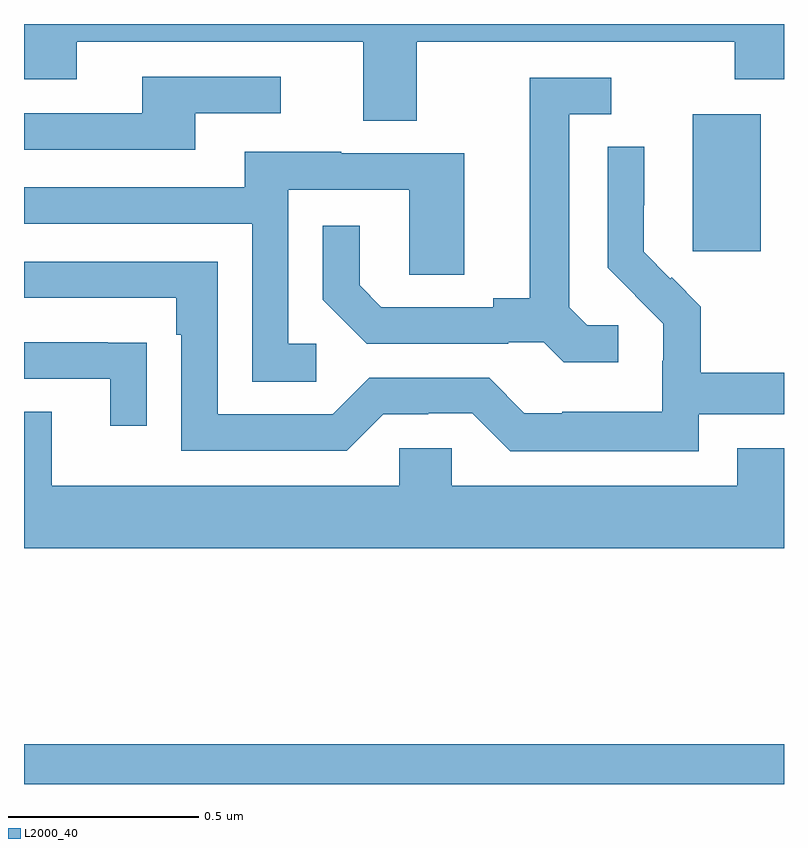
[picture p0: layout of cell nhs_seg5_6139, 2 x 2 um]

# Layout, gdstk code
import gdstk
lib = gdstk.Library(unit=1e-6, precision=1e-09)
def R(c, l, rs):  # rectangles x0, y0, x1, y1
    for r in rs: c.add(gdstk.rectangle(r[:2], r[2:], *l))
def P(c, l, *ps):  # polygons
    for p in ps: c.add(gdstk.Polygon(p, *l))
L2000_40 = (2000, 40)

nhs_seg5_6139 = lib.new_cell('nhs_seg5_6139')
R(nhs_seg5_6139, L2000_40, [(192,862.799,194,862.904), (193.76,864.201,193.939,864.562)])
P(nhs_seg5_6139, L2000_40, [(192,864.653),(192.139,864.653),(192.139,864.752),(192.893,864.752),(192.893,864.544),(193.033,864.544),(193.033,864.752),(193.87,864.752),(193.87,864.653),(194,864.653),(194,864.799),(192,864.799)],
  [(192.451,864.564),(192.676,864.564),(192.676,864.66),(192.311,864.66),(192.311,864.564),(192,864.564),(192,864.468),(192.451,864.468)],
  [(193.564,864.006),(193.482,864.006),(193.435,864.053),(193.435,864.561),(193.546,864.561),(193.546,864.657),(193.331,864.657),(193.331,864.077),(193.235,864.077),(193.235,864.054),(192.94,864.054),(192.883,864.111),(192.883,864.268),(192.786,864.268),(192.786,864.074),(192.902,863.958),(193.274,863.958),(193.274,863.961),(193.368,863.961),(193.42,863.909),(193.564,863.909)],
  [(193.776,863.772),(194,863.772),(194,863.881),(193.781,863.881),(193.781,864.055),(193.704,864.132),(193.701,864.129),(193.631,864.2),(193.631,864.322),(193.632,864.322),(193.632,864.476),(193.536,864.476),(193.536,864.158),(193.609,864.085),(193.608,864.084),(193.682,864.01),(193.682,863.913),(193.68,863.913),(193.68,863.779),(193.417,863.779),(193.417,863.775),(193.317,863.775),(193.224,863.868),(192.909,863.868),(192.813,863.772),(192.51,863.772),(192.51,864.174),(192,864.174),(192,864.078),(192.401,864.078),(192.401,863.981),(192.414,863.981),(192.414,863.676),(192.849,863.676),(192.945,863.772),(193.064,863.772),(193.064,863.775),(193.179,863.775),(193.279,863.675),(193.776,863.675)],
  [(192.769,863.958),(192.696,863.958),(192.696,864.363),(193.014,864.363),(193.014,864.139),(193.159,864.139),(193.159,864.459),(192.835,864.459),(192.835,864.463),(192.581,864.463),(192.581,864.369),(192,864.369),(192,864.273),(192.6,864.273),(192.6,863.857),(192.769,863.857)],
  [(192.323,863.96),(192.221,863.96),(192.221,863.961),(192,863.961),(192,863.865),(192.227,863.865),(192.227,863.742),(192.323,863.742)],
  [(194,863.683),(193.877,863.683),(193.877,863.584),(193.125,863.584),(193.125,863.682),(192.987,863.682),(192.987,863.584),(192.073,863.584),(192.073,863.779),(192,863.779),(192,863.42),(194,863.42)])

lib.write_gds('nhs_seg5_6139.gds')
